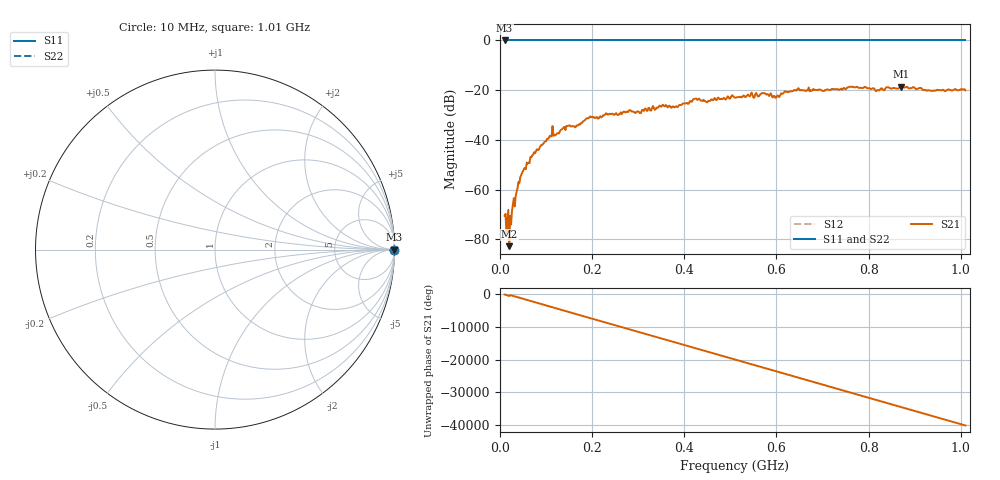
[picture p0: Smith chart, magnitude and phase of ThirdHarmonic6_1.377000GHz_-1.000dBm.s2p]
! 8/16/2025 3:37:57 PM
! C:\ANRITSUVNA\TEMP\TEMP.S2P
! CHANNEL.1
! TR.MEASUREMENT
! RAW.DATA
! RF.CORRECTION.OFF
! AVERAGING.OFF
! IF.BANDWIDTH: 5KHZ
! SWEEPTYPE:  FREQ.SWEEP(Linear)
! Reference Plane Port Info
! PORT:  PORT1  PORT2
! DISTANCE:  0  m  0  m
! TIME:  0  s  0  s
! PHASE.OFFSET:  0  deg.  0  deg.
! LOSS:  0  dB  0  dB
! REF.LOSS:  0  dB  0  dB
! REF.FREQ:  0  Hz  0  Hz
! Power Info
! POWER:  -20  dBm  -20  dBm
! EFF.POWER:  -20  dBm  -20  dBm
! SOURCE.ATTEN:  0  dB  0  dB
! TEST.ATTEN:  0  dB  0  dB
# GHZ S RI R 50.0
! FREQ.GHZ  S11RE  S11IM  S21RE  S21IM  S12RE  S12IM  S22RE  S22IM
!; PortSelection: Port_12
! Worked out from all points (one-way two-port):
!   501 points, 10 MHz to 1.01 GHz, reference 50 ohm
!   highest |S21| = -18.60 dB at 870 MHz (marker M1); lowest = -82.8 dB at 20 MHz (marker M2)
!   lowest |S11| = 0.0 dB at 10 MHz (marker M3)
!   |S11| at or under -10 dB: nowhere
!   |S22| runs from 0.0 to 0.0 dB; largest |S21 - S12| = 1.1
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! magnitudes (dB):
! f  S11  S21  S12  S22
! 10 MHz  0.0  -70.5  0.0  0.0
! 16 MHz  0.0  -72.6  0.0  0.0
! 20 MHz  0.0  -82.8  0.0  0.0
! 24 MHz  0.0  -74.1  0.0  0.0
! 26 MHz  0.0  -68.6  0.0  0.0
! 44 MHz  0.0  -55.0  0.0  0.0
! 70 MHz  0.0  -46.2  0.0  0.0
! 110 MHz  0.0  -38.6  0.0  0.0
! 178 MHz  0.0  -33.1  0.0  0.0
! 198 MHz  0.0  -30.7  0.0  0.0
! 344 MHz  0.0  -26.9  0.0  0.0
! 382 MHz  0.0  -26.5  0.0  0.0
! 422 MHz  0.0  -23.5  0.0  0.0
! 450 MHz  0.0  -24.9  0.0  0.0
! 510 MHz  0.0  -23.1  0.0  0.0
! 570 MHz  0.0  -21.1  0.0  0.0
! 602 MHz  0.0  -22.1  0.0  0.0
! 644 MHz  0.0  -20.0  0.0  0.0
! 678 MHz  0.0  -20.1  0.0  0.0
! 844 MHz  0.0  -18.9  0.0  0.0
! 870 MHz  0.0  -18.6  0.0  0.0
! 1.01 GHz  0.0  -20.1  0.0  0.0
